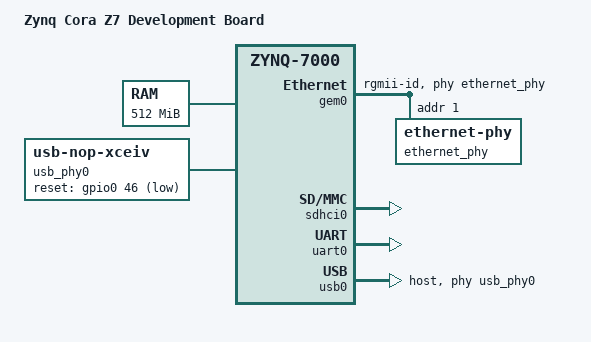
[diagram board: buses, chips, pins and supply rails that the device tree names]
// SPDX-FileCopyrightText: 2026 Mete Balci
// SPDX-License-Identifier: GPL-2.0-or-later
/*
 * The Cora Z7-07S's processing system, as Linux and U-Boot see it.
 *
 * ONE FILE FOR BOTH.  The kernel compiles it from arch/arm/boot/dts/xilinx/
 * and U-Boot from arch/arm/dts/, each beside its own zynq-7000.dtsi and the
 * copy of boards/arty-z7-20/linux/cadr-reserved.dtsi the build puts there;
 * U-Boot adds zynq-cora-z7-07s-u-boot.dtsi by name, which marks the two
 * devices its SPL needs.  GPL-2.0-or-later because the blob is embedded in
 * u-boot.img.
 *
 * THIS IS THE ARTY Z7-20's TREE WITH THREE DIFFERENCES, and they are the
 * whole of what the two boards' processing systems do not share.  Digilent's
 * own board preset gives this board UART0 on MIO 14..15, ENET0 on MIO 16..27
 * with its MDIO on 52..53 and its PHY reset on MIO 9, USB0 on MIO 28..39 with
 * its PHY reset on MIO 46, and SD0 on MIO 40..45 with card detect on MIO 47
 * --- the same four peripherals on the same pins with the same reset lines as
 * the Arty Z7-20, compared property by property against
 * boards/arty-z7-20/vivado/ps7_config.tcl.  What differs:
 *
 *   ONE CORTEX-A9.  The XC7Z007S is a single-core part, so cpu1 is disabled.
 *     Digilent's own tree for this board does exactly this and it is the one
 *     line of the three that a reader would not guess.
 *   NO QUAD SPI.  PCW_QSPI_PERIPHERAL_ENABLE is 0 in this board's preset and
 *     1 in the Arty Z7-20's, so there is no flash node and no spi0 alias, and
 *     the SPL's -u-boot.dtsi marks two devices rather than three.
 *   THE BOARD's OWN NAME in model and compatible.
 *
 * WHERE EACH FACT COMES FROM.  Mainline has no Cora Z7 tree (Linux 6.19.14
 * arch/arm/boot/dts/xilinx/ and U-Boot 2026.01 arch/arm/dts/ have none), so
 * this is written like the Arty Z7-20's, which is written like
 * zynq-zybo-z7.dts.  The board's own facts are Digilent's, from two files of
 * theirs that agree with each other:
 *
 *   github.com/Digilent/Petalinux-Cora-Z7-07S,
 *     Cora-Z7-07S/project-spec/meta-user/recipes-bsp/device-tree/files/
 *     system-user.dtsi --- the model and compatible strings, the RTL8211E-VL
 *     at MDIO address 1 (their own comment names the part), USB0 as a host
 *     over a ULPI PHY with `drv-vbus`;
 *   a zynq-coraz7s.dtsi carried in several vendor kernel trees and copyright
 *     Digilent 2016 --- the same model and compatible, `&cpu1 { status =
 *     "disabled" }`, ps-clk-frequency 50 MHz, 512 MB at 0, gem0 on
 *     "rgmii-id", and aliases for ethernet0, serial0 and mmc0 and none for
 *     spi0.
 *
 * and from boards/cora-z7-07s/vivado/ps7_config.tcl, which is Digilent's own
 * processing-system configuration for this board verbatim.
 *
 * THE MODEL AND COMPATIBLE STRINGS ARE DIGILENT's, as the Arty Z7-20's are,
 * and they are the same two strings for both Cora variants --- Digilent does
 * not distinguish the 07S from the 10 in the tree.  Nothing matches on them:
 * what a driver binds to is "xlnx,zynq-7000".
 *
 * NO PROGRAMMABLE-LOGIC PERIPHERALS.  The fabric here is the CADR and there
 * is nothing at any AXI address a tree would name.  Digilent's own tree
 * carries an XADC and an fpga-axi bus from their base design; neither is in
 * this one.
 *
 * THE MAC ADDRESS IS NOT HERE.  It is private to the board and this file is
 * public; U-Boot puts the `ethaddr` the card supplies into gem0 at boot
 * (fdt_fixup_ethernet, on the ethernet0 alias), which is why the alias is
 * kept and why the kernel and the loader ask DHCP with one address.
 *
 * NOTHING IN THIS FILE HAS BEEN BOOTED.  No Cora Z7-07S has been programmed
 * or booted from this repository, so what holds it is the provenance above
 * and the fact that it is the Arty Z7-20's tree, which has booted, with three
 * differences each of which has a source.
 */

/dts-v1/;
#include "zynq-7000.dtsi"
#include <dt-bindings/gpio/gpio.h>

/ {
	model = "Zynq Cora Z7 Development Board";
	compatible = "digilent,zynq-coraz7", "xlnx,zynq-7000";

	aliases {
		ethernet0 = &gem0;
		serial0 = &uart0;
		mmc0 = &sdhci0;
	};

	memory@0 {
		device_type = "memory";
		reg = <0x0 0x20000000>;
	};

	chosen {
		bootargs = "";
		stdout-path = "serial0:115200n8";
	};

	usb_phy0: phy0 {
		#phy-cells = <0>;
		compatible = "usb-nop-xceiv";
		reset-gpios = <&gpio0 46 GPIO_ACTIVE_LOW>;
	};
};

/*
 * The CADR's 128 MB at 0x18000000, `no-map`.  rtl/plumbing/cadr_ddr_map.sv is
 * where the numbers are decided and the dtsi is the same fact in the tree's
 * words --- and it is the ARTY Z7-20's copy of that file, included from this
 * board's tree, because the memory map is a property of the machine and not
 * of the board.  Both boards carry 512 MB of DDR3 and reserve the same
 * 128 MB of it.  external.mk is where the file is put beside each build.
 */
#include "cadr-reserved.dtsi"

/*
 * ONE CORTEX-A9.  The XC7Z007S is a single-core part; zynq-7000.dtsi declares
 * two and this is how Digilent's own tree for this board takes the second
 * one away.  Without it Linux spends its boot trying to bring up a core that
 * is not there.
 */
&cpu1 {
	status = "disabled";
};

&clkc {
	ps-clk-frequency = <50000000>;
};

&gem0 {
	status = "okay";
	phy-mode = "rgmii-id";
	phy-handle = <&ethernet_phy>;

	ethernet_phy: ethernet-phy@1 {
		reg = <1>;
	};
};

/*
 * NO QUAD SPI NODE.  This board's preset has PCW_QSPI_PERIPHERAL_ENABLE 0
 * where the Arty Z7-20's has 1, and Digilent's own tree for this board has no
 * flash node and no spi0 alias.  A node here would name a device the pin
 * multiplexing never routes.
 */

&sdhci0 {
	status = "okay";
};

&uart0 {
	status = "okay";
};

/*
 * `phys`, NOT the `usb-phy` every mainline Zynq tree still carries, for the
 * reason measured on the Arty Z7-20 (kernel 6.19.14): with `usb-phy` the
 * ChipIdea controller's probe ends in -ENXIO with no message and no retry,
 * because only the `phys` phandle answers -EPROBE_DEFER for a PHY that is not
 * registered yet.  The binding says the same in its own words
 * (chipidea,usb2-common.yaml: usb-phy "deprecated: true. Use phys instead").
 * No `phy-names`: with CONFIG_GENERIC_PHY on, a name would make the generic
 * lookup wait for a provider this nop PHY is not.
 *
 * **AND NOTHING ON THIS BOARD USES THE PORT.**  `cadr-usb-input` is not
 * installed here, so no program reads a USB device, and the init script that
 * tells the PHY to drive VBUS is not installed either --- see the defconfig.
 * The node is here because the port exists and Digilent's own tree declares
 * it as a host; a board that later wants USB input takes the package and the
 * VBUS script together and nothing in this file changes.
 */
&usb0 {
	status = "okay";
	dr_mode = "host";
	phys = <&usb_phy0>;
};
